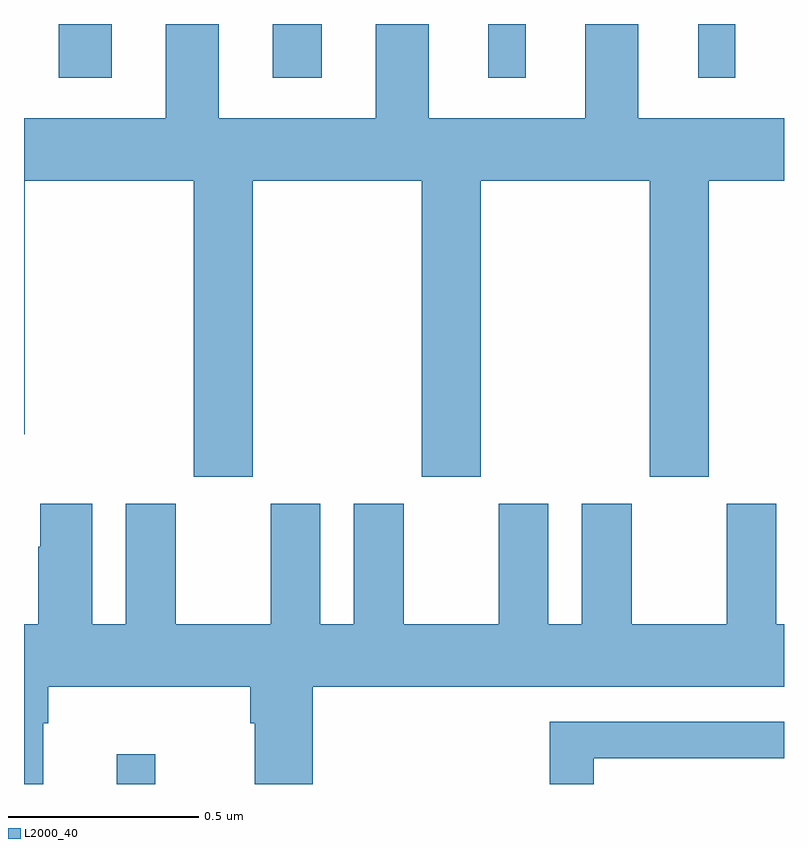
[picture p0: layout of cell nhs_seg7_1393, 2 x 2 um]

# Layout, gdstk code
import gdstk
lib = gdstk.Library(unit=1e-6, precision=1e-09)
def R(c, l, rs):  # rectangles x0, y0, x1, y1
    for r in rs: c.add(gdstk.rectangle(r[:2], r[2:], *l))
def P(c, l, *ps):  # polygons
    for p in ps: c.add(gdstk.Polygon(p, *l))
L2000_40 = (2000, 40)

nhs_seg7_1393 = lib.new_cell('nhs_seg7_1393')
R(nhs_seg7_1393, L2000_40, [(130.244,1027,130.346,1027.078), (130.091,1028.859,130.231,1029), (130.655,1028.859,130.783,1029), (131.222,1028.859,131.32,1029), (131.774,1028.859,131.872,1029)])
P(nhs_seg7_1393, L2000_40, [(131.617,1029),(131.477,1029),(131.477,1028.752),(131.065,1028.752),(131.065,1029),(130.925,1029),(130.925,1028.752),(130.513,1028.752),(130.513,1029),(130.373,1029),(130.373,1028.752),(130,1028.752),(130,1027.921),(130.002,1027.921),(130.002,1028.588),(130.447,1028.588),(130.447,1027.809),(130.602,1027.809),(130.602,1028.588),(131.047,1028.588),(131.047,1027.809),(131.202,1027.809),(131.202,1028.588),(131.647,1028.588),(131.647,1027.809),(131.802,1027.809),(131.802,1028.588),(132,1028.588),(132,1028.752),(131.617,1028.752)],
  [(130.051,1027.16),(130.064,1027.16),(130.064,1027.256),(130.595,1027.256),(130.595,1027.16),(130.607,1027.16),(130.607,1027),(130.76,1027),(130.76,1027.256),(132,1027.256),(132,1027.42),(131.98,1027.42),(131.98,1027.738),(131.849,1027.738),(131.849,1027.42),(131.599,1027.42),(131.599,1027.738),(131.468,1027.738),(131.468,1027.42),(131.38,1027.42),(131.38,1027.738),(131.249,1027.738),(131.249,1027.42),(130.999,1027.42),(130.999,1027.738),(130.868,1027.738),(130.868,1027.42),(130.78,1027.42),(130.78,1027.738),(130.649,1027.738),(130.649,1027.42),(130.399,1027.42),(130.399,1027.738),(130.268,1027.738),(130.268,1027.42),(130.18,1027.42),(130.18,1027.738),(130.043,1027.738),(130.043,1027.625),(130.037,1027.625),(130.037,1027.42),(130,1027.42),(130,1027),(130.051,1027)],
  [(131.499,1027.068),(132,1027.068),(132,1027.164),(131.383,1027.164),(131.383,1027),(131.499,1027)])

lib.write_gds('nhs_seg7_1393.gds')
